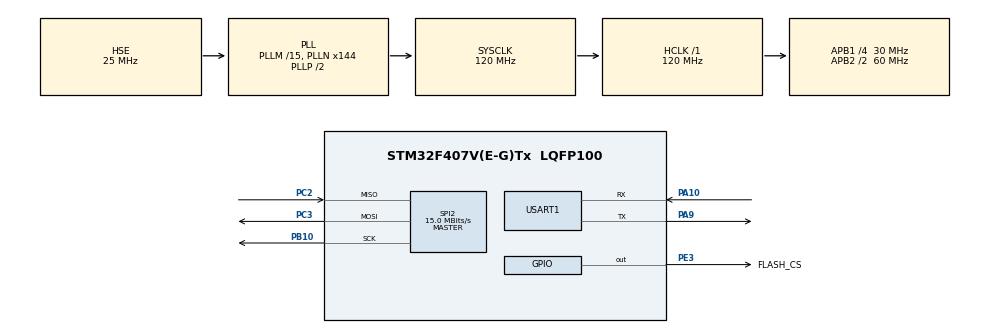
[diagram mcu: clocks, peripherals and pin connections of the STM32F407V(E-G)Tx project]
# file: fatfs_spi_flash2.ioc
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Mcu.Family=STM32F4
Mcu.Name=STM32F407V(E-G)Tx
Mcu.Package=LQFP100
NVIC.PriorityGroup=NVIC_PRIORITYGROUP_4
PA10.Mode=Asynchronous
PA10.Signal=USART1_RX
PA13.Mode=Serial_Wire
PA13.Signal=SYS_JTMS-SWDIO
PA14.Mode=Serial_Wire
PA14.Signal=SYS_JTCK-SWCLK
PA9.Mode=Asynchronous
PA9.Signal=USART1_TX
PB10.Mode=Full_Duplex_Master
PB10.Signal=SPI2_SCK
PC2.Mode=Full_Duplex_Master
PC2.Signal=SPI2_MISO
PC3.Mode=Full_Duplex_Master
PC3.Signal=SPI2_MOSI
PE3.GPIO_Label=FLASH_CS
PE3.Signal=GPIO_Output
PH0-OSC_IN.Mode=HSE-External-Oscillator
PH0-OSC_IN.Signal=RCC_OSC_IN
PH1-OSC_OUT.Mode=HSE-External-Oscillator
PH1-OSC_OUT.Signal=RCC_OSC_OUT
ProjectManager.HeapSize=0x200
ProjectManager.StackSize=0x400
ProjectManager.TargetToolchain=MDK-ARM V5
RCC.48MHZClocksFreq_Value=60000000
RCC.AHBFreq_Value=120000000
RCC.APB1CLKDivider=RCC_HCLK_DIV4
RCC.APB1Freq_Value=30000000
RCC.APB1TimFreq_Value=60000000
RCC.APB2CLKDivider=RCC_HCLK_DIV2
RCC.APB2Freq_Value=60000000
RCC.APB2TimFreq_Value=120000000
RCC.CortexFreq_Value=120000000
RCC.HCLKFreq_Value=120000000
RCC.HSE_VALUE=25000000
RCC.HSI_VALUE=16000000
RCC.LSE_VALUE=32768
RCC.PLLM=15
RCC.PLLN=144
RCC.PLLSourceVirtual=RCC_PLLSOURCE_HSE
RCC.SYSCLKFreq_VALUE=120000000
RCC.SYSCLKSource=RCC_SYSCLKSOURCE_PLLCLK
RCC.VCOOutputFreq_Value=240000000
SPI2.BaudRatePrescaler=SPI_BAUDRATEPRESCALER_2
SPI2.CalculateBaudRate=15.0 MBits/s
SPI2.Direction=SPI_DIRECTION_2LINES
SPI2.Mode=SPI_MODE_MASTER
SPI2.VirtualType=VM_MASTER
USART1.VirtualMode=VM_ASYNC
VP_FATFS_VS_Generic.Mode=User_defined
board=custom

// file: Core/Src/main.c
/* USER CODE BEGIN Header */
/**
  ******************************************************************************
  * @file           : main.c
  * @brief          : Main program body
  ******************************************************************************
  * @attention
  *
  * Copyright (c) 2022 STMicroelectronics.
  * All rights reserved.
  *
  * This software is licensed under terms that can be found in the LICENSE file
  * in the root directory of this software component.
  * If no LICENSE file comes with this software, it is provided AS-IS.
  *
  ******************************************************************************
  */
/* USER CODE END Header */
#include "main.h"
#include "fatfs.h"

/* USER CODE BEGIN Includes */
#include "ringBuffer.h"
#include "app_debug.h"
#include "spi_flash.h"
#include "ff_gen_drv.h"
/* USER CODE END Includes */

 SPI_HandleTypeDef hspi2;

UART_HandleTypeDef huart1;

/* USER CODE BEGIN PV */
    FATFS FatFs;
    FRESULT fres;
    FIL SFLASHFile;
    char SFLASHPath[4];     /* SFLASH logical drive path */
    BYTE gFSWork[_MAX_SS];
    char str[100] = {"Hello World\0"};
    UINT bw;
/* USER CODE END PV */

void SystemClock_Config(void);
static void MX_GPIO_Init(void);
static void MX_SPI2_Init(void);
static void MX_USART1_UART_Init(void);

/* USER CODE BEGIN 0 */
//static BYTE work[4096]; // Formats the drive if it has yet to be formatted
/* USER CODE END 0 */

int main(void)
{

  /* MCU Configuration--------------------------------------------------------*/

  /* Reset of all peripherals, Initializes the Flash interface and the Systick. */
  HAL_Init();

  /* Configure the system clock */
  SystemClock_Config();

  /* Initialize all configured peripherals */
  MX_GPIO_Init();
  MX_SPI2_Init();
  MX_USART1_UART_Init();
  MX_FATFS_Init();
  /* USER CODE BEGIN 2 */
    app_debug_init(sys_get_ms, NULL);
    app_debug_register_callback_print(usart_logger_put);

    ringBufferInit (&ringBuff, temp, sizeofBuff);
    HAL_Delay(100);
    FATFS_LinkDriver(&USER_Driver, SFLASHPath);
    //Mount drive

    fres = f_mount(&FatFs, SFLASHPath, 1);
    if (fres != FR_OK)
    {
        DEBUG_INFO ("Mount fail \r\n");
        fres = f_mkfs(SFLASHPath, FM_ANY, 0, gFSWork, sizeof gFSWork);
        if (fres == FR_OK)
        {
            DEBUG_INFO ("format disk \r\n");

        }
        else
        {
        while(1);
        }
    }
    else
    {
    DEBUG_INFO ("Mount ok \r\n");
    }
    fres = f_open (&SFLASHFile, "test", FA_CREATE_ALWAYS | FA_WRITE);
    if (fres != FR_OK)
    {
        DEBUG_INFO ("open fail!! \r\n");
        while(1);
    }
    else
    {
        DEBUG_INFO ("open file ok \r\n");
      fres = f_write (&SFLASHFile, &str, sizeof(str), (UINT*)bw);
        if (fres != FR_OK)
        {
            DEBUG_INFO ("write fail \r\n");

        }
        else
        {
            DEBUG_INFO ("write sucessfully\r\n");
        }

      fres = f_close (&SFLASHFile);
        DEBUG_INFO ("file closeed");
    }

    fres = f_open(&SFLASHFile, "test", FA_READ);

    if (fres != FR_OK)
    {

      DEBUG_INFO ("open fail!! \r\n");
         while(1);
    }
    else
    {
        DEBUG_INFO ("open file ok \r\n");
      fres = f_read(&SFLASHFile, &gFSWork, 11, &bw);
        DEBUG_INFO ("read file ok \r\n");
    }
    f_close (&SFLASHFile);

  /* USER CODE END 2 */

  /* Infinite loop */
  while (1)
  {

  }
}

void SystemClock_Config(void)
{
  RCC_OscInitTypeDef RCC_OscInitStruct = {0};
  RCC_ClkInitTypeDef RCC_ClkInitStruct = {0};

  /** Configure the main internal regulator output voltage
  */
  __HAL_RCC_PWR_CLK_ENABLE();
  __HAL_PWR_VOLTAGESCALING_CONFIG(PWR_REGULATOR_VOLTAGE_SCALE1);

  /** Initializes the RCC Oscillators according to the specified parameters
  * in the RCC_OscInitTypeDef structure.
  */
  RCC_OscInitStruct.OscillatorType = RCC_OSCILLATORTYPE_HSE;
  RCC_OscInitStruct.HSEState = RCC_HSE_ON;
  RCC_OscInitStruct.PLL.PLLState = RCC_PLL_ON;
  RCC_OscInitStruct.PLL.PLLSource = RCC_PLLSOURCE_HSE;
  RCC_OscInitStruct.PLL.PLLM = 15;
  RCC_OscInitStruct.PLL.PLLN = 144;
  RCC_OscInitStruct.PLL.PLLP = RCC_PLLP_DIV2;
  RCC_OscInitStruct.PLL.PLLQ = 4;
  if (HAL_RCC_OscConfig(&RCC_OscInitStruct) != HAL_OK)
  {
    Error_Handler();
  }

  /** Initializes the CPU, AHB and APB buses clocks
  */
  RCC_ClkInitStruct.ClockType = RCC_CLOCKTYPE_HCLK|RCC_CLOCKTYPE_SYSCLK
                              |RCC_CLOCKTYPE_PCLK1|RCC_CLOCKTYPE_PCLK2;
  RCC_ClkInitStruct.SYSCLKSource = RCC_SYSCLKSOURCE_PLLCLK;
  RCC_ClkInitStruct.AHBCLKDivider = RCC_SYSCLK_DIV1;
  RCC_ClkInitStruct.APB1CLKDivider = RCC_HCLK_DIV4;
  RCC_ClkInitStruct.APB2CLKDivider = RCC_HCLK_DIV2;

  if (HAL_RCC_ClockConfig(&RCC_ClkInitStruct, FLASH_LATENCY_3) != HAL_OK)
  {
    Error_Handler();
  }
}

static void MX_SPI2_Init(void)
{

  /* SPI2 parameter configuration*/
  hspi2.Instance = SPI2;
  hspi2.Init.Mode = SPI_MODE_MASTER;
  hspi2.Init.Direction = SPI_DIRECTION_2LINES;
  hspi2.Init.DataSize = SPI_DATASIZE_8BIT;
  hspi2.Init.CLKPolarity = SPI_POLARITY_LOW;
  hspi2.Init.CLKPhase = SPI_PHASE_1EDGE;
  hspi2.Init.NSS = SPI_NSS_SOFT;
  hspi2.Init.BaudRatePrescaler = SPI_BAUDRATEPRESCALER_2;
  hspi2.Init.FirstBit = SPI_FIRSTBIT_MSB;
  hspi2.Init.TIMode = SPI_TIMODE_DISABLE;
  hspi2.Init.CRCCalculation = SPI_CRCCALCULATION_DISABLE;
  hspi2.Init.CRCPolynomial = 10;
  if (HAL_SPI_Init(&hspi2) != HAL_OK)
  {
    Error_Handler();
  }

}

static void MX_USART1_UART_Init(void)
{

  huart1.Instance = USART1;
  huart1.Init.BaudRate = 115200;
  huart1.Init.WordLength = UART_WORDLENGTH_8B;
  huart1.Init.StopBits = UART_STOPBITS_1;
  huart1.Init.Parity = UART_PARITY_NONE;
  huart1.Init.Mode = UART_MODE_TX_RX;
  huart1.Init.HwFlowCtl = UART_HWCONTROL_NONE;
  huart1.Init.OverSampling = UART_OVERSAMPLING_16;
  if (HAL_UART_Init(&huart1) != HAL_OK)
  {
    Error_Handler();
  }

}

static void MX_GPIO_Init(void)
{
  GPIO_InitTypeDef GPIO_InitStruct = {0};

  /* GPIO Ports Clock Enable */
  __HAL_RCC_GPIOE_CLK_ENABLE();
  __HAL_RCC_GPIOH_CLK_ENABLE();
  __HAL_RCC_GPIOC_CLK_ENABLE();
  __HAL_RCC_GPIOB_CLK_ENABLE();
  __HAL_RCC_GPIOA_CLK_ENABLE();

  /*Configure GPIO pin Output Level */
  HAL_GPIO_WritePin(FLASH_CS_GPIO_Port, FLASH_CS_Pin, GPIO_PIN_RESET);

  /*Configure GPIO pin : FLASH_CS_Pin */
  GPIO_InitStruct.Pin = FLASH_CS_Pin;
  GPIO_InitStruct.Mode = GPIO_MODE_OUTPUT_PP;
  GPIO_InitStruct.Pull = GPIO_NOPULL;
  GPIO_InitStruct.Speed = GPIO_SPEED_FREQ_LOW;
  HAL_GPIO_Init(FLASH_CS_GPIO_Port, &GPIO_InitStruct);

}

void Error_Handler(void)
{
  __disable_irq();
  while (1)
  {
  }
}
